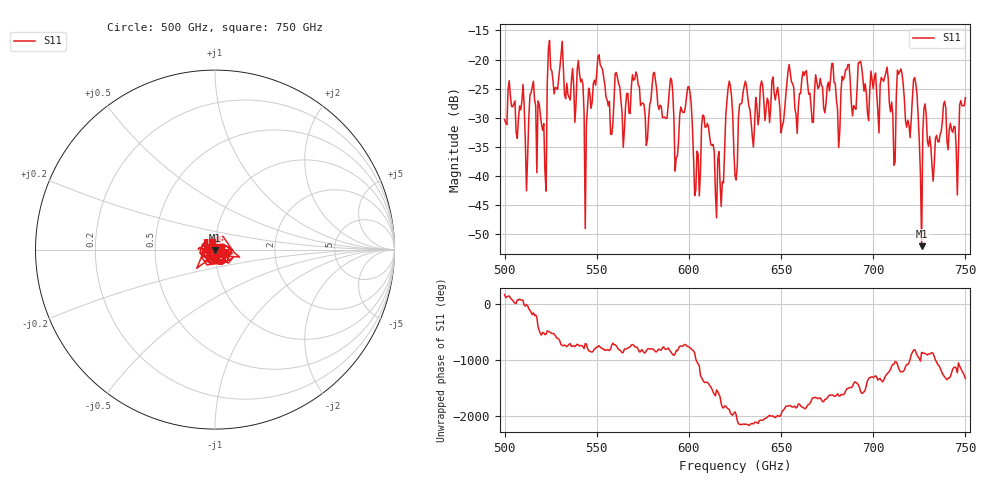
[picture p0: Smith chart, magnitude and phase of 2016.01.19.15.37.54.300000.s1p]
!Created with skrf (http://scikit-rf.org).
# GHz S RI R 50.0
!freq ReS11 ImS11
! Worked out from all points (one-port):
!   401 points, 500 GHz to 750 GHz, reference 50 ohm
!   lowest |S11| = -52.1 dB at 726.2 GHz (marker M1), VSWR 1.00, Z = 49.8 - j0.152 ohm
!   |S11| at or under -10 dB: start of sweep to end of sweep
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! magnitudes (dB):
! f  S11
! 500 GHz  -30.3
! 511.9 GHz  -42.6
! 515 GHz  -24.8
! 521.2 GHz  -31.0
! 524.4 GHz  -16.7
! 531.2 GHz  -16.9
! 544.4 GHz  -31.1
! 551.2 GHz  -19.2
! 557.5 GHz  -32.8
! 562.5 GHz  -24.7
! 590 GHz  -23.2
! 593.8 GHz  -36.5
! 600 GHz  -24.7
! 604.4 GHz  -35.8
! 608.8 GHz  -31.6
! 618.1 GHz  -41.0
! 621.9 GHz  -23.7
! 625 GHz  -40.0
! 630 GHz  -24.6
! 656.2 GHz  -24.1
! 687.5 GHz  -23.6
! 706.9 GHz  -22.3
! 710.6 GHz  -29.5
! 714.4 GHz  -22.1
! 718.8 GHz  -30.4
! 722.5 GHz  -23.1
! 726.2 GHz  -52.1
! 750 GHz  -26.6
